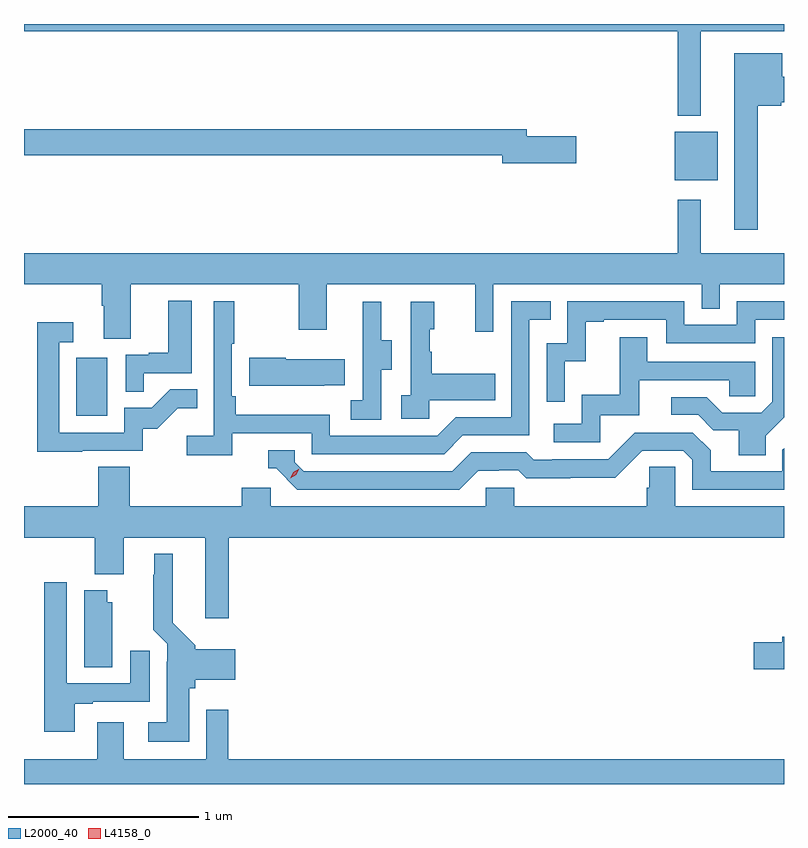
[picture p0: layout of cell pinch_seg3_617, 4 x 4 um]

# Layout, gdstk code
import gdstk
lib = gdstk.Library(unit=1e-6, precision=1e-09)
def R(c, l, rs):  # rectangles x0, y0, x1, y1
    for r in rs: c.add(gdstk.rectangle(r[:2], r[2:], *l))
def P(c, l, *ps):  # polygons
    for p in ps: c.add(gdstk.Polygon(p, *l))
L2000_40 = (2000, 40)
L4158_0 = (4158, 0)

pinch_seg3_617 = lib.new_cell('pinch_seg3_617')
R(pinch_seg3_617, L2000_40, [(1077.518,685.572,1077.682,685.879), (1080.668,686.813,1080.895,687.067)])
P(pinch_seg3_617, L2000_40, [(1080.805,687.596),(1081.244,687.596),(1081.244,687.635),(1077.244,687.635),(1077.244,687.596),(1080.684,687.596),(1080.684,687.152),(1080.805,687.152)],
  [(1081.105,687.206),(1081.23,687.206),(1081.23,687.224),(1081.244,687.224),(1081.244,687.358),(1081.234,687.358),(1081.234,687.481),(1080.983,687.481),(1080.983,686.553),(1081.105,686.553)],
  [(1080.151,687.044),(1079.89,687.044),(1079.89,687.08),(1077.244,687.08),(1077.244,686.944),(1079.762,686.944),(1079.762,686.902),(1080.151,686.902)],
  [(1080.805,686.71),(1080.684,686.71),(1080.684,686.428),(1077.244,686.428),(1077.244,686.264),(1077.653,686.264),(1077.653,686.152),(1077.665,686.152),(1077.665,685.978),(1077.805,685.978),(1077.805,686.264),(1078.69,686.264),(1078.69,686.025),(1078.837,686.025),(1078.837,686.264),(1079.618,686.264),(1079.618,686.016),(1079.715,686.016),(1079.715,686.264),(1080.81,686.264),(1080.81,686.137),(1080.906,686.137),(1080.906,686.264),(1081.244,686.264),(1081.244,686.428),(1080.805,686.428)],
  [(1077.875,685.797),(1078.126,685.797),(1078.126,686.179),(1078.004,686.179),(1078.004,685.906),(1077.901,685.906),(1077.901,685.893),(1077.78,685.893),(1077.78,685.699),(1077.875,685.699)],
  [(1078.34,685.482),(1078.758,685.482),(1078.758,685.371),(1079.455,685.371),(1079.554,685.47),(1079.904,685.47),(1079.904,686.079),(1080.017,686.079),(1080.017,686.175),(1079.808,686.175),(1079.808,685.566),(1079.517,685.566),(1079.418,685.467),(1078.854,685.467),(1078.854,685.579),(1078.358,685.579),(1078.358,685.675),(1078.338,685.675),(1078.338,685.951),(1078.351,685.951),(1078.351,686.176),(1078.242,686.176),(1078.242,685.468),(1078.101,685.468),(1078.101,685.366),(1078.34,685.366)],
  [(1080.09,685.859),(1080.2,685.859),(1080.2,686.067),(1080.295,686.067),(1080.295,686.079),(1080.624,686.079),(1080.624,685.956),(1081.092,685.956),(1081.092,686.079),(1081.244,686.079),(1081.244,686.175),(1080.996,686.175),(1080.996,686.052),(1080.72,686.052),(1080.72,686.175),(1080.102,686.175),(1080.102,685.956),(1079.994,685.956),(1079.994,685.647),(1080.09,685.647)],
  [(1079.124,685.816),(1079.179,685.816),(1079.179,685.971),(1079.125,685.971),(1079.125,686.173),(1079.027,686.173),(1079.027,685.959),(1079.028,685.959),(1079.028,685.655),(1078.965,685.655),(1078.965,685.552),(1079.124,685.552)],
  [(1079.376,685.655),(1079.723,685.655),(1079.723,685.795),(1079.389,685.795),(1079.389,685.91),(1079.379,685.91),(1079.379,686.028),(1079.404,686.028),(1079.404,686.173),(1079.28,686.173),(1079.28,685.682),(1079.229,685.682),(1079.229,685.557),(1079.376,685.557)],
  [(1077.551,685.389),(1077.87,685.389),(1077.87,685.506),(1077.946,685.506),(1078.053,685.613),(1078.157,685.613),(1078.157,685.712),(1078.014,685.712),(1077.916,685.614),(1077.771,685.614),(1077.771,685.485),(1077.429,685.485),(1077.429,685.959),(1077.502,685.959),(1077.502,686.065),(1077.313,686.065),(1077.313,685.384),(1077.551,685.384)],
  [(1080.276,685.575),(1080.481,685.575),(1080.481,685.761),(1080.955,685.761),(1080.955,685.677),(1081.092,685.677),(1081.092,685.857),(1080.523,685.857),(1080.523,685.987),(1080.379,685.987),(1080.379,685.684),(1080.18,685.684),(1080.18,685.53),(1080.033,685.53),(1080.033,685.434),(1080.276,685.434)],
  [(1081.147,685.468),(1081.244,685.565),(1081.244,685.987),(1081.182,685.987),(1081.182,685.647),(1081.125,685.59),(1080.919,685.59),(1080.838,685.671),(1080.651,685.671),(1080.651,685.578),(1080.792,685.578),(1080.872,685.498),(1081.007,685.498),(1081.007,685.366),(1081.147,685.366)],
  [(1078.823,685.733),(1078.931,685.733),(1078.931,685.87),(1078.621,685.87),(1078.621,685.878),(1078.43,685.878),(1078.43,685.73),(1078.823,685.73)],
  [(1079.635,685.284),(1079.742,685.284),(1079.742,685.287),(1079.845,685.287),(1079.887,685.245),(1080.12,685.245),(1080.12,685.247),(1080.356,685.247),(1080.498,685.389),(1080.714,685.389),(1080.762,685.341),(1080.762,685.185),(1081.244,685.185),(1081.244,685.403),(1081.236,685.395),(1081.236,685.281),(1080.859,685.281),(1080.859,685.391),(1080.765,685.485),(1080.459,685.485),(1080.318,685.344),(1080.025,685.344),(1080.025,685.341),(1079.926,685.341),(1079.887,685.38),(1079.598,685.38),(1079.499,685.281),(1078.716,685.281),(1078.668,685.329),(1078.668,685.392),(1078.529,685.392),(1078.529,685.296),(1078.572,685.296),(1078.683,685.185),(1079.536,685.185)],
  [(1078.322,684.932),(1081.244,684.932),(1081.244,685.096),(1080.672,685.096),(1080.672,685.304),(1080.535,685.304),(1080.535,685.194),(1080.521,685.194),(1080.521,685.096),(1079.823,685.096),(1079.823,685.194),(1079.673,685.194),(1079.673,685.096),(1078.542,685.096),(1078.542,685.194),(1078.391,685.194),(1078.391,685.096),(1077.8,685.096),(1077.8,685.304),(1077.635,685.304),(1077.635,685.096),(1077.244,685.096),(1077.244,684.932),(1077.617,684.932),(1077.617,684.74),(1077.769,684.74),(1077.769,684.932),(1078.199,684.932),(1078.199,684.507),(1078.322,684.507)],
  [(1078.114,684.138),(1078.145,684.138),(1078.145,684.185),(1078.357,684.185),(1078.357,684.343),(1078.145,684.343),(1078.145,684.366),(1078.027,684.484),(1078.027,684.847),(1077.929,684.847),(1077.929,684.737),(1077.925,684.737),(1077.925,684.446),(1077.999,684.372),(1077.999,684.278),(1077.995,684.278),(1077.995,683.959),(1077.897,683.959),(1077.897,683.858),(1078.114,683.858)],
  [(1077.511,684.057),(1077.607,684.057),(1077.607,684.069),(1077.907,684.069),(1077.907,684.337),(1077.803,684.337),(1077.803,684.165),(1077.469,684.165),(1077.469,684.697),(1077.35,684.697),(1077.35,683.91),(1077.511,683.91)],
  [(1077.709,684.591),(1077.682,684.591),(1077.682,684.655),(1077.56,684.655),(1077.56,684.25),(1077.709,684.25)],
  [(1081.244,684.41),(1081.235,684.41),(1081.235,684.38),(1081.086,684.38),(1081.086,684.238),(1081.244,684.238)],
  [(1081.244,683.764),(1078.319,683.764),(1078.319,684.025),(1078.203,684.025),(1078.203,683.764),(1077.769,683.764),(1077.769,683.959),(1077.629,683.959),(1077.629,683.764),(1077.244,683.764),(1077.244,683.635),(1081.244,683.635)])
P(pinch_seg3_617, L4158_0, [(1078.644,685.243),(1078.644,685.243),(1078.661,685.276),(1078.692,685.295),(1078.692,685.295),(1078.692,685.295),(1078.676,685.262),(1078.645,685.243)])

lib.write_gds('pinch_seg3_617.gds')
